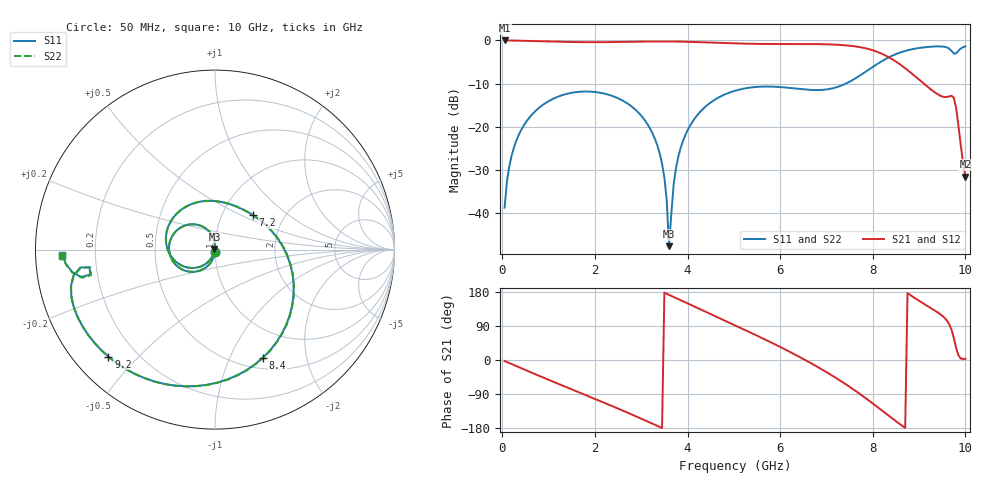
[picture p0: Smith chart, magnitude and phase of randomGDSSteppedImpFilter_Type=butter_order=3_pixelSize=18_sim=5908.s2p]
! freq	dB(S11)	phase(S11)	dB(S12)	phase(S12)
!  dB(S21)	phase(S21)	dB(S22)	phase(S22)
!S-par simulation data
#  GHz  S  DB  R 50
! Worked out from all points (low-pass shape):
!   200 points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, 50 MHz to 10 GHz, reference 50 ohm
!   highest |S21| = -0.01 dB at 50 MHz (marker M1); lowest = -31.5 dB at 10 GHz (marker M2)
!   |S21| within 3 dB of the highest: start of sweep to 8.18 GHz
!   lowest |S11| = -47.6 dB at 3.6 GHz (marker M3), VSWR 1.01, Z = 49.7 + j0.278 ohm
!   |S11| at or under -10 dB: start of sweep to 7.416 GHz
!   |S22| runs from -48.0 to -1.4 dB; largest |S21 - S12| = 0
!   S11 on the Smith chart (normalised r, x): 50 MHz: 1.00, -0.02; 7.2 GHz: 1.40, +0.58; 8.4 GHz: 0.63, -1.34; 9.2 GHz: 0.10, -0.41; 10 GHz: 0.08, -0.02
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0.05  -38.70 -92.5  -0.01 -2.7  -0.01 -2.7  -38.70 -92.5
0.2  -26.71 -100.8  -0.03 -10.7  -0.03 -10.7  -26.71 -100.8
0.5  -19.08 -117.0  -0.09 -26.4  -0.09 -26.4  -19.08 -117.0
1.75  -11.83 179.2  -0.40 -90.1  -0.40 -90.1  -11.83 179.2
2.8  -15.35 125.8  -0.31 -144.0  -0.31 -144.0  -15.35 125.7
3.4  -26.18 95.3  -0.24 -176.7  -0.24 -176.7  -26.18 94.9
3.55  -36.89 94.0  -0.24 174.9  -0.24 174.9  -36.92 92.6
3.6  -47.61 137.8  -0.24 172.1  -0.24 172.1  -48.00 135.9
3.75  -29.57 -110.9  -0.26 163.7  -0.26 163.7  -29.57 -110.3
3.95  -21.97 -119.9  -0.30 152.3  -0.30 152.3  -21.97 -119.6
5.05  -11.56 179.6  -0.69 90.1  -0.69 90.1  -11.56 179.7
6  -10.79 124.4  -0.83 34.5  -0.83 34.5  -10.79 124.6
6.7  -11.47 78.9  -0.84 -10.8  -0.84 -10.8  -11.47 79.3
7.2  -10.89 42.0  -0.98 -46.9  -0.98 -46.9  -10.89 42.6
7.75  -7.93 -4.3  -1.61 -92.1  -1.61 -92.1  -7.93 -3.7
8.35  -3.89 -61.2  -3.91 -147.7  -3.91 -147.7  -3.89 -60.7
8.4  -3.63 -66.0  -4.22 -152.4  -4.22 -152.4  -3.63 -65.5
8.8  -2.15 -102.6  -7.29 172.2  -7.29 172.2  -2.16 -102.3
9.2  -1.50 -134.9  -10.87 141.1  -10.87 141.1  -1.50 -134.6
9.55  -1.48 -161.5  -13.10 111.2  -13.10 111.2  -1.48 -161.3
9.75  -3.03 -172.0  -13.26 58.1  -13.26 58.1  -3.07 -171.8
10  -1.38 -178.1  -31.50 3.1  -31.50 3.1  -1.39 -177.8
